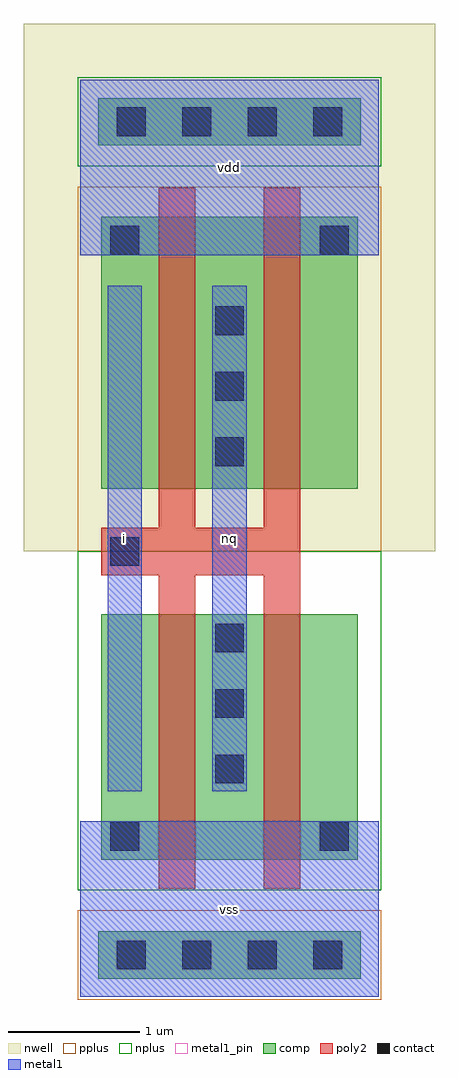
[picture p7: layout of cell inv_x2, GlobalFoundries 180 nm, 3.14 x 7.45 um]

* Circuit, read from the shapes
.subckt inv_x2 i nq vdd vss
XM1 nq i vss vss nfet_03v3 w=1.875u l=0.28u m=2
XM2 nq i vdd vdd pfet_03v3 w=2.075u l=0.28u m=2
.ends

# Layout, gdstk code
import gdstk
lib = gdstk.Library(unit=1e-6, precision=1e-09)
def R(c, l, rs):  # rectangles x0, y0, x1, y1
    for r in rs: c.add(gdstk.rectangle(r[:2], r[2:], *l))
def A(c, l, x, y, w, h, nx, ny, dx, dy):  # array of equal rectangles
    R(c, l, [(x+i*dx, y+j*dy, x+i*dx+w, y+j*dy+h) for i in range(nx) for j in range(ny)])
def P(c, l, *ps):  # polygons
    for p in ps: c.add(gdstk.Polygon(p, *l))
nwell = (21, 0)
comp = (22, 0)
poly2 = (30, 0)
pplus = (31, 0)
nplus = (32, 0)
contact = (33, 0)
metal1 = (34, 0)
metal1_pin = (34, 10)

inv_x2 = lib.new_cell('inv_x2')
R(inv_x2, nwell, [(-0.43,3.4,2.71,7.43)])
R(inv_x2, comp, [(0.14,0.14,2.14,0.5), (0.16,1.045,2.12,2.92), (0.16,3.88,2.12,5.955), (0.14,6.5,2.14,6.86)])
P(inv_x2, poly2, [(0.6,0.825),(0.6,3.22),(0.16,3.22),(0.16,3.58),(0.6,3.58),(0.6,6.175),(0.88,6.175),(0.88,3.58),(1.4,3.58),(1.4,6.175),(1.68,6.175),(1.68,0.825),(1.4,0.825),(1.4,3.22),(0.88,3.22),(0.88,0.825)])
R(inv_x2, pplus, [(-0.02,-0.02,2.3,0.66), (-0.02,3.4,2.3,6.185)])
R(inv_x2, nplus, [(-0.02,0.815,2.3,3.4), (-0.02,6.34,2.3,7.02)])
A(inv_x2, contact, 0.28, 0.21, 0.22, 0.22, 4, 2, 0.5, 6.36)
A(inv_x2, contact, 1.03, 1.63, 0.22, 0.22, 1, 3, 0, 0.5)
A(inv_x2, contact, 1.03, 4.05, 0.22, 0.22, 1, 3, 0, 0.5)
R(inv_x2, contact, [(0.23,1.115,0.45,1.335), (1.83,1.115,2.05,1.335), (0.23,3.29,0.45,3.51), (0.23,5.665,0.45,5.885), (1.83,5.665,2.05,5.885)])
R(inv_x2, metal1, [(0,0,2.28,1.34), (0.21,1.57,0.47,5.43), (1.01,1.57,1.27,5.43), (0,5.66,2.28,7)])
R(inv_x2, metal1_pin, [(0,0,2.28,1.34), (0.21,1.57,0.47,5.43), (1.01,1.57,1.27,5.43), (0,5.66,2.28,7)])
inv_x2.add(gdstk.Label('vss', (1.14,0.67), layer=34, texttype=10))
inv_x2.add(gdstk.Label('vdd', (1.14,6.33), layer=34, texttype=10))
inv_x2.add(gdstk.Label('nq', (1.14,3.5), layer=34, texttype=10))
inv_x2.add(gdstk.Label('i', (0.34,3.5), layer=34, texttype=10))

lib.write_gds('inv_x2.gds')
